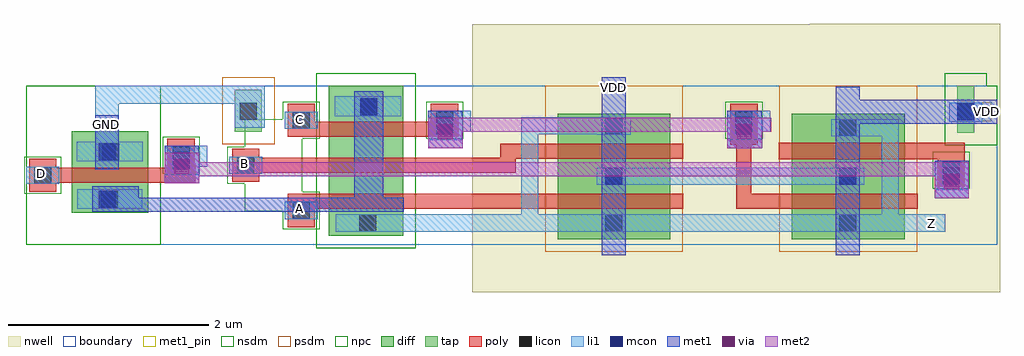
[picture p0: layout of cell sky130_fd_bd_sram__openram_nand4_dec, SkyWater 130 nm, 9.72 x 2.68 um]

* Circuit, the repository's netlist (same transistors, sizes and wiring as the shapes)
* Copyright 2020 The SkyWater PDK Authors
*
* Licensed under the Apache License, Version 2.0 (the "License");
* you may not use this file except in compliance with the License.
* You may obtain a copy of the License at
*
*     https://www.apache.org/licenses/LICENSE-2.0
*
* Unless required by applicable law or agreed to in writing, software
* distributed under the License is distributed on an "AS IS" BASIS,
* WITHOUT WARRANTIES OR CONDITIONS OF ANY KIND, either express or implied.
* See the License for the specific language governing permissions and
* limitations under the License.
*
* SPDX-License-Identifier: Apache-2.0


.subckt sky130_fd_bd_sram__openram_nand4_dec GND VDD
X0 VDD C Z VDD sky130_fd_pr__pfet_01v8 w=1.125e+06u l=150000u
X1 a_n384_98# C a_128_208# GND sky130_fd_pr__nfet_01v8 w=740000u l=150000u
X2 Z D VDD VDD sky130_fd_pr__pfet_01v8 w=1.125e+06u l=165000u
X3 Z B VDD VDD sky130_fd_pr__pfet_01v8 w=1.12e+06u l=150000u
X4 a_128_136# A Z GND sky130_fd_pr__nfet_01v8 w=740000u l=150000u
X5 VDD A Z VDD sky130_fd_pr__pfet_01v8 w=1.12e+06u l=150000u
X6 a_128_208# B a_128_136# GND sky130_fd_pr__nfet_01v8 w=740000u l=150000u
X7 GND D a_n384_98# GND sky130_fd_pr__nfet_01v8 w=760000u l=150000u
.ends

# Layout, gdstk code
import gdstk
lib = gdstk.Library(unit=1e-6, precision=1e-09)
def R(c, l, rs):  # rectangles x0, y0, x1, y1
    for r in rs: c.add(gdstk.rectangle(r[:2], r[2:], *l))
nwell = (64, 20)
diff = (65, 20)
tap = (65, 44)
poly = (66, 20)
licon = (66, 44)
li1 = (67, 20)
mcon = (67, 44)
met1_pin = (68, 16)
met1 = (68, 20)
via = (68, 44)
met2 = (69, 20)
nsdm = (93, 44)
psdm = (94, 20)
npc = (95, 20)
boundary = (235, 4)

sky130_fd_bd_sram__openr = lib.new_cell('sky130_fd_bd_sram__openram_nand4_dec')
R(sky130_fd_bd_sram__openr, nwell, [(2.07,-0.3,7.325,2.37), (5.43,2.37,7.325,2.375)])
R(sky130_fd_bd_sram__openr, diff, [(2.92,0.23,4.04,1.48), (5.25,0.23,6.375,1.48), (0.64,0.265,1.38,1.755), (-1.92,0.49,-1.16,1.305)])
R(sky130_fd_bd_sram__openr, tap, [(6.9,1.29,7.07,1.755), (-0.295,1.3,-0.025,1.715)])
R(sky130_fd_bd_sram__openr, poly, [(0.23,0.35,0.5,0.53), (0.23,0.53,4.17,0.68), (4.7,0.53,6.505,0.68), (4.7,0.68,4.85,1.17), (-2.345,0.7,-2.075,0.79), (6.705,0.75,6.975,1.025), (-2.345,0.79,-0.69,0.94), (-0.32,0.8,-0.05,0.89), (-0.32,0.89,2.5,1.03), (-2.345,0.94,-2.075,1.03), (-0.97,0.94,-0.69,0.985), (-0.97,0.985,-0.695,1.23), (5.12,1.025,6.975,1.19), (-0.32,1.03,4.17,1.04), (-0.32,1.04,-0.05,1.13), (2.35,1.04,4.17,1.18), (4.64,1.17,4.91,1.58), (0.23,1.25,1.93,1.4), (0.23,1.4,0.5,1.58), (1.655,1.4,1.93,1.58)])
R(sky130_fd_bd_sram__openr, licon, [(0.945,0.305,1.115,0.475), (3.395,0.305,3.565,0.475), (5.725,0.305,5.895,0.475), (0.28,0.43,0.45,0.6), (-1.63,0.54,-1.46,0.71), (3.395,0.77,3.565,0.94), (5.725,0.77,5.895,0.94), (-2.295,0.78,-2.125,0.95), (6.755,0.83,6.925,1), (-0.27,0.88,-0.1,1.05), (-0.915,0.98,-0.745,1.15), (-1.615,1.015,-1.445,1.185), (5.725,1.255,5.895,1.425), (3.395,1.27,3.565,1.44), (0.28,1.33,0.45,1.5), (1.71,1.33,1.88,1.5), (4.69,1.33,4.86,1.5), (-0.245,1.42,-0.075,1.59), (6.9,1.42,7.07,1.59), (0.955,1.465,1.125,1.635)])
R(sky130_fd_bd_sram__openr, li1, [(0.71,0.305,6.78,0.475), (0.2,0.43,0.53,0.6), (2.555,0.475,2.725,1.275), (6.145,0.475,6.315,1.255), (-1.865,0.53,-1.215,0.725), (6.675,0.715,7.015,1.01), (3.31,0.77,5.975,0.94), (-2.375,0.78,-2.045,0.95), (-0.995,0.865,-0.655,0.95), (-0.35,0.88,-0.02,1.05), (-0.995,0.95,-0.57,1.16), (-1.87,1.005,-1.21,1.2), (-1.685,1.2,-1.45,1.58), (1.63,1.215,1.97,1.3), (4.61,1.215,4.95,1.3), (5.645,1.255,6.315,1.425), (3.31,1.27,3.65,1.275), (2.555,1.275,3.65,1.44), (1.63,1.3,2.055,1.51), (4.61,1.3,5.035,1.51), (0.2,1.33,0.53,1.5), (-0.295,1.34,0.005,1.58), (6.82,1.4,7.15,1.59), (2.555,1.44,3.435,1.445), (0.7,1.455,1.36,1.65), (-1.685,1.58,0.005,1.755)])
R(sky130_fd_bd_sram__openr, mcon, [(-1.65,0.54,-1.48,0.71), (3.395,0.77,3.565,0.94), (5.725,0.77,5.895,0.94), (6.755,0.775,6.925,0.945), (-0.915,0.925,-0.745,1.095), (-1.65,1.015,-1.48,1.185), (1.71,1.275,1.88,1.445), (4.69,1.275,4.86,1.445), (6.9,1.415,7.07,1.585), (0.955,1.465,1.125,1.635)])
R(sky130_fd_bd_sram__openr, met1_pin, [(-1.665,1.33,-1.475,1.42), (7.15,1.405,7.24,1.595), (3.385,1.69,3.575,1.78)])
R(sky130_fd_bd_sram__openr, met1, [(3.36,0.07,3.6,1.84), (5.69,0.07,5.93,1.38), (-1.715,0.5,1.385,0.64), (6.675,0.635,7.015,1.01), (-1.715,0.64,-1.25,0.755), (0.895,0.64,1.185,1.7), (-0.995,0.785,-0.65,1.1), (-1.685,0.925,-1.45,1.465), (-0.995,1.1,-0.655,1.16), (1.63,1.135,1.975,1.45), (4.61,1.135,4.955,1.45), (5.69,1.38,7.3,1.62), (1.63,1.45,1.97,1.51), (4.61,1.45,4.95,1.51), (5.69,1.62,5.93,1.745)])
R(sky130_fd_bd_sram__openr, via, [(6.77,0.725,6.92,0.875), (-0.9,0.875,-0.75,1.025), (1.725,1.225,1.875,1.375), (4.705,1.225,4.855,1.375)])
R(sky130_fd_bd_sram__openr, met2, [(6.675,0.635,7.015,0.855), (-0.995,0.785,-0.65,0.855), (-0.995,0.855,7.015,0.995), (-0.995,0.995,-0.65,1.09), (1.63,1.135,1.975,1.3), (4.61,1.135,4.955,1.3), (1.63,1.3,5.045,1.44)])
R(sky130_fd_bd_sram__openr, nsdm, [(0.515,0.14,1.505,1.88), (-2.375,0.175,-1.035,1.755), (6.775,1.165,7.3,1.755), (6.775,1.755,7.195,1.88)])
R(sky130_fd_bd_sram__openr, psdm, [(2.795,0.105,4.165,1.755), (5.125,0.105,6.5,1.755), (-0.42,1.175,0.1,1.84)])
R(sky130_fd_bd_sram__openr, npc, [(0.18,0.33,0.55,0.505), (-0.195,0.505,0.55,0.7), (-2.395,0.68,-2.025,1.05), (-0.195,0.7,0.375,0.78), (6.655,0.73,7.025,1.1), (-0.37,0.78,0.375,1.15), (-1.015,0.88,-0.645,1.25), (-0.195,1.15,0.375,1.23), (-0.195,1.23,0.55,1.425), (1.61,1.23,1.98,1.6), (4.59,1.23,4.96,1.6), (0.18,1.425,0.55,1.6)])
R(sky130_fd_bd_sram__openr, boundary, [(-2.375,0.175,7.3,1.755)])
sky130_fd_bd_sram__openr.add(gdstk.Label('D', (-2.225,0.88), layer=67, texttype=20))
sky130_fd_bd_sram__openr.add(gdstk.Label('C', (0.35,1.42), layer=67, texttype=20))
sky130_fd_bd_sram__openr.add(gdstk.Label('B', (-0.2,0.98), layer=67, texttype=20))
sky130_fd_bd_sram__openr.add(gdstk.Label('A', (0.35,0.53), layer=67, texttype=20))
sky130_fd_bd_sram__openr.add(gdstk.Label('Z', (6.64,0.39), layer=67, texttype=20))
sky130_fd_bd_sram__openr.add(gdstk.Label('VDD', (3.48,1.735), layer=68, texttype=16))
sky130_fd_bd_sram__openr.add(gdstk.Label('VDD', (7.195,1.5), layer=68, texttype=16))
sky130_fd_bd_sram__openr.add(gdstk.Label('GND', (-1.57,1.375), layer=68, texttype=16))

lib.write_gds('sky130_fd_bd_sram__openram_nand4_dec.gds')
